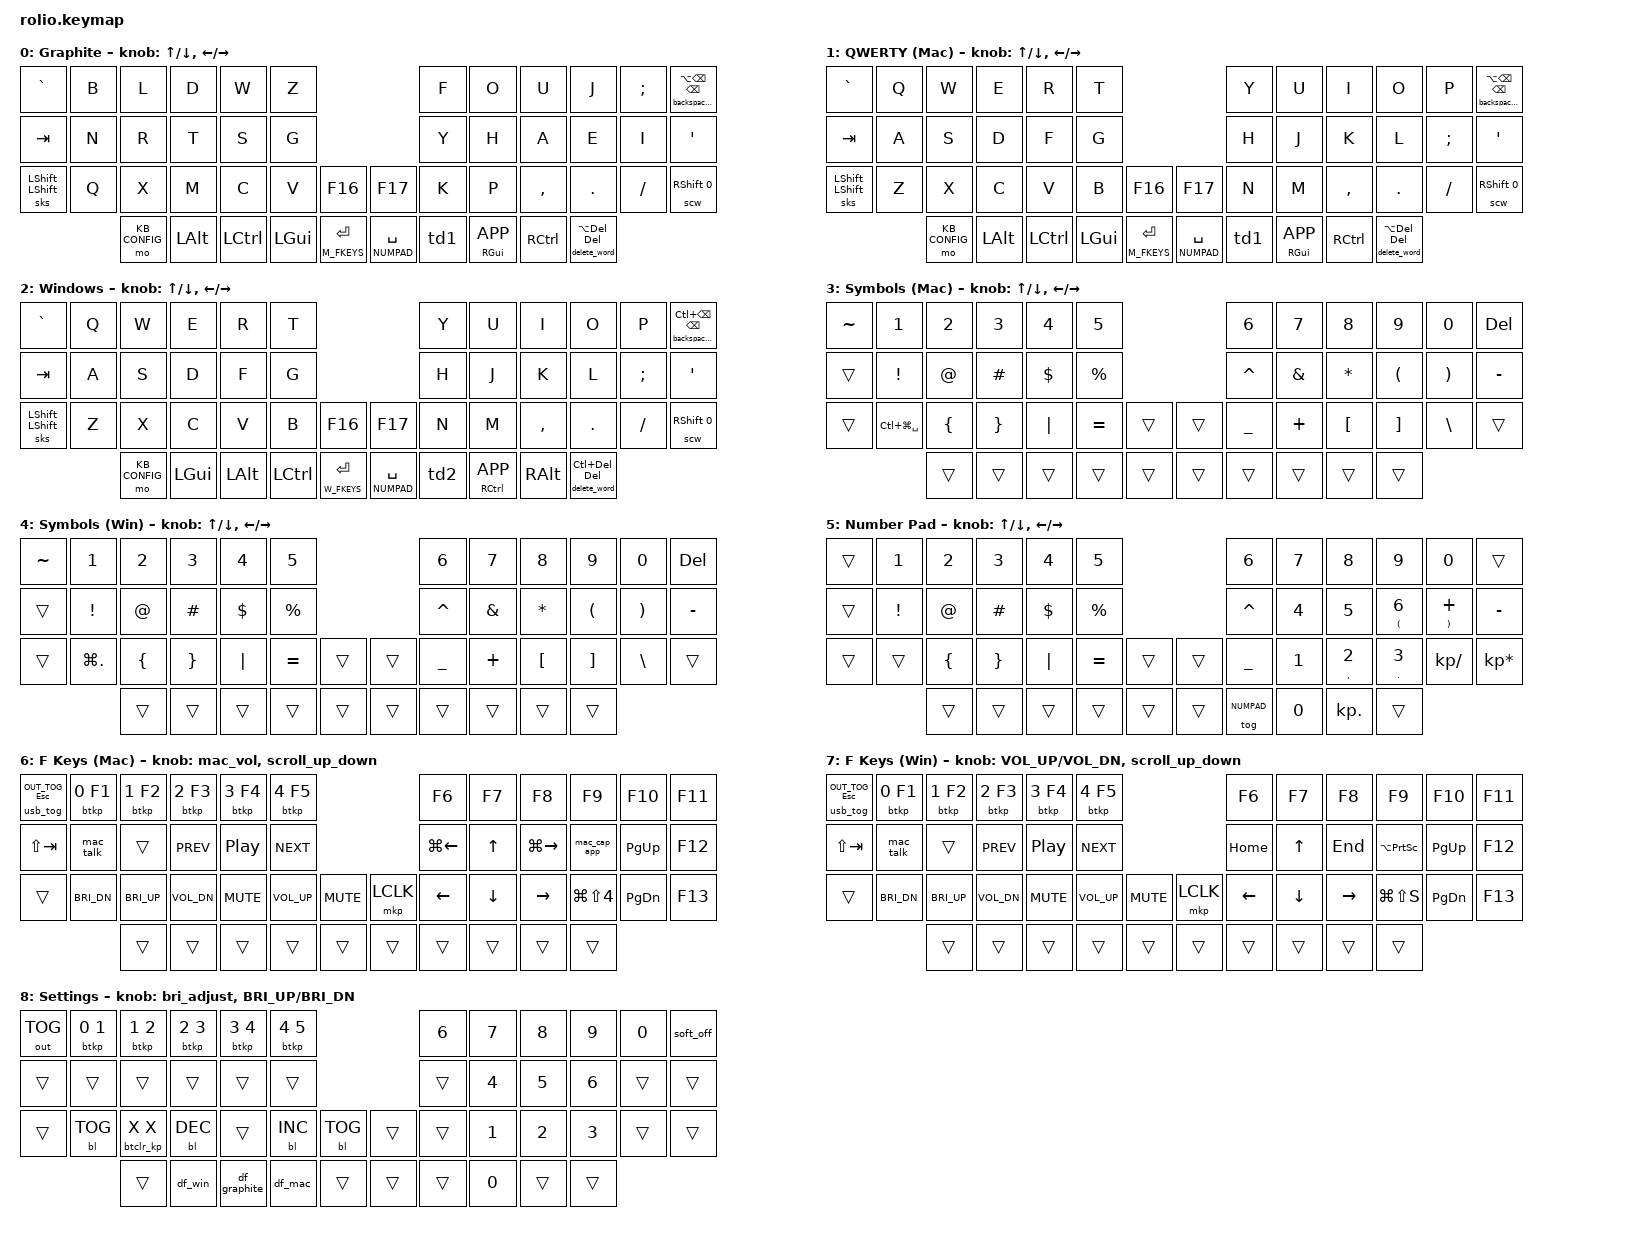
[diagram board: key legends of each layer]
/*
 * Copyright (c) 2023 The ZMK Contributors
 *
 * SPDX-License-Identifier: MIT
 */

#include <behaviors.dtsi>
#include <dt-bindings/zmk/keys.h>
#include <dt-bindings/zmk/bt.h>
#include <dt-bindings/zmk/outputs.h>
#include <dt-bindings/zmk/backlight.h>

#define ZMK_POINTING_DEFAULT_SCRL_VAL 100
#include <dt-bindings/zmk/pointing.h>

// Helpful macros borrowed from AndrewMSHowe
#define ___ &trans

// Layer numbers for use by the keymap & macros
#define GRAPHITE  0
#define MACOS     1
#define WINDOWS   2
#define M_SYMBOLS 3
#define W_SYMBOLS 4
#define NUMPAD    5
#define M_FKEYS   6
#define W_FKEYS   7
#define KB_CONFIG 8


#include "keymap_behaviors.dtsi"
#include "keymap_macros.dtsi"

/ {

    combos {
        compatible = "zmk,combos";
        // Bracket combos — adjacent home-row keys, mirrored across split
        // Pattern: outer pair = [], middle pair = (), inner pair = {}
        combo_lpar  { timeout-ms = <30>; key-positions = <14 15>; bindings = <&kp LPAR>; };   // R+T → (
        combo_rpar  { timeout-ms = <30>; key-positions = <21 20>; bindings = <&kp RPAR>; };   // E+A → )
        combo_lbrc  { timeout-ms = <30>; key-positions = <15 16>; bindings = <&kp LBRC>; };   // T+S → {
        combo_rbrc  { timeout-ms = <30>; key-positions = <20 19>; bindings = <&kp RBRC>; };   // A+H → }
        combo_lbkt  { timeout-ms = <30>; key-positions = <13 14>; bindings = <&kp LBKT>; };   // N+R → [
        combo_rbkt  { timeout-ms = <30>; key-positions = <22 21>; bindings = <&kp RBKT>; };   // I+E → ]
    };

    keymap {
        compatible = "zmk,keymap";

        default_layer {
            display-name = "Graphite";
            sensor-bindings = <&inc_dec_kp UP DOWN &inc_dec_kp LEFT RIGHT>;
            bindings = <
// ╭───────────────┬───────────────┬───────────────┬───────────────┬───────────────┬───────────────╮                                 ╭───────────────┬───────────────┬───────────────┬───────────────┬───────────────┬───────────────╮
       &kp GRAVE      &kp B            &kp L           &kp D           &kp W           &kp Z     /*|                                 |*/  &kp F          &kp O           &kp U           &kp J           &kp SEMI       &backspace_word LA(BSPC) BSPC
       &kp TAB        &kp N            &kp R           &kp T           &kp S           &kp G     /*├─────────────╮     ╭─────────────┤*/  &kp Y          &kp H           &kp A           &kp E           &kp I          &kp SQT
       &sks LSHIFT LSHIFT &kp Q            &kp X           &kp M           &kp C           &kp V           &kp F16             &kp F17        &kp K          &kp P           &kp COMMA       &kp DOT         &kp FSLH       &scw RSHIFT 0
/* ╰───────────────┴───────────────┤*/ &mo KB_CONFIG   &kp LALT        &kp LCTRL       &kp LGUI   &lt M_FKEYS ENTER   &lt NUMPAD SPACE    &td1           &mt RGUI K_APP  &kp RCTRL       &delete_word LA(DEL) DEL   //├───────────────┴───────────────╯
//                                 ╰───────────────┴───────────────┴───────────────┴───────────────┴─────────────╯     ╰─────────────┴───────────────┴───────────────┴───────────────┴───────────────╯
            >;
        };

        macos_layer {
            display-name = "QWERTY (Mac)";
            sensor-bindings = <&inc_dec_kp UP DOWN &inc_dec_kp LEFT RIGHT>;
            bindings = <
// ╭───────────────┬───────────────┬───────────────┬───────────────┬───────────────┬───────────────╮                                 ╭───────────────┬───────────────┬───────────────┬───────────────┬───────────────┬───────────────╮
       &kp GRAVE      &kp Q            &kp W           &kp E           &kp R           &kp T     /*|                                 |*/  &kp Y          &kp U           &kp I           &kp O           &kp P          &backspace_word LA(BSPC) BSPC
       &kp TAB        &kp A            &kp S           &kp D           &kp F           &kp G     /*├─────────────╮     ╭─────────────┤*/  &kp H          &kp J           &kp K           &kp L           &kp SEMI       &kp SQT
       &sks LSHIFT LSHIFT &kp Z            &kp X           &kp C           &kp V           &kp B           &kp F16             &kp F17        &kp N          &kp M           &kp COMMA       &kp DOT         &kp FSLH       &scw RSHIFT 0
/* ╰───────────────┴───────────────┤*/ &mo KB_CONFIG   &kp LALT        &kp LCTRL       &kp LGUI   &lt M_FKEYS ENTER   &lt NUMPAD SPACE    &td1           &mt RGUI K_APP  &kp RCTRL       &delete_word LA(DEL) DEL   //├───────────────┴───────────────╯
//                                 ╰───────────────┴───────────────┴───────────────┴───────────────┴─────────────╯     ╰─────────────┴───────────────┴───────────────┴───────────────┴───────────────╯
            >;
        };

        windows_default_layer {
            display-name = "Windows";
            sensor-bindings = <&inc_dec_kp UP DOWN &inc_dec_kp LEFT RIGHT>;
            bindings = <
// ╭───────────────┬───────────────┬───────────────┬───────────────┬───────────────┬───────────────╮                                 ╭───────────────┬───────────────┬───────────────┬───────────────┬───────────────┬───────────────╮
       &kp GRAVE      &kp Q            &kp W           &kp E           &kp R           &kp T     /*|                                 |*/  &kp Y          &kp U           &kp I           &kp O           &kp P          &backspace_word LC(BSPC) BSPC
       &kp TAB        &kp A            &kp S           &kp D           &kp F           &kp G     /*├─────────────╮     ╭─────────────┤*/  &kp H          &kp J           &kp K           &kp L           &kp SEMI       &kp SQT
       &sks LSHIFT LSHIFT &kp Z            &kp X           &kp C           &kp V           &kp B           &kp F16             &kp F17        &kp N          &kp M           &kp COMMA       &kp DOT         &kp FSLH       &scw RSHIFT 0
/* ╰───────────────┴───────────────┤*/ &mo KB_CONFIG   &kp LGUI        &kp LALT        &kp LCTRL   &lt W_FKEYS ENTER   &lt NUMPAD SPACE   &td2        &mt RCTRL K_APP    &kp RALT        &delete_word LC(DEL) DEL   //├───────────────┴───────────────╯
//                                 ╰───────────────┴───────────────┴───────────────┴───────────────┴─────────────╯     ╰─────────────┴───────────────┴───────────────┴───────────────┴───────────────╯
            >;
        };

        macos_symbols_layer {
            display-name = "Symbols (Mac)";
            sensor-bindings = <&inc_dec_kp UP DOWN &inc_dec_kp LEFT RIGHT>;
            bindings = <
// ╭───────────────┬───────────────┬───────────────┬───────────────┬───────────────┬───────────────╮                                 ╭───────────────┬───────────────┬───────────────┬───────────────┬───────────────┬───────────────╮
       &kp TILDE       &kp N1          &kp N2          &kp N3          &kp N4          &kp N5    /*|                                 |*/  &kp N6         &kp N7          &kp N8          &kp N9          &kp N0          &kp DEL
       ___             &kp EXCL        &kp AT          &kp HASH        &kp DLLR        &kp PRCNT /*├─────────────╮     ╭─────────────┤*/  &kp CARET      &kp AMPERSAND   &kp STAR        &kp LPAR        &kp RPAR        &kp MINUS
       ___         &kp LC(LG(SPACE))   &kp LEFT_BRACE  &kp RIGHT_BRACE &kp PIPE        &kp EQUAL       ___                 ___            &kp UNDER      &kp PLUS        &kp LBKT        &kp RBKT        &kp BACKSLASH   ___
/* ╰───────────────┴───────────────┤*/ ___             ___             ___             ___             ___                 ___            ___            ___             ___             ___       //├───────────────┴───────────────╯
//                                 ╰───────────────┴───────────────┴───────────────┴───────────────┴─────────────╯     ╰─────────────┴───────────────┴───────────────┴───────────────┴───────────────╯
            >;
        };

        windows_symbols_layer {
            display-name = "Symbols (Win)";
            sensor-bindings = <&inc_dec_kp UP DOWN &inc_dec_kp LEFT RIGHT>;
            bindings = <
// ╭───────────────┬───────────────┬───────────────┬───────────────┬───────────────┬───────────────╮                                 ╭───────────────┬───────────────┬───────────────┬───────────────┬───────────────┬───────────────╮
       &kp TILDE       &kp N1          &kp N2          &kp N3          &kp N4          &kp N5    /*|                                 |*/  &kp N6         &kp N7          &kp N8          &kp N9          &kp N0          &kp DEL
       ___             &kp EXCL        &kp AT          &kp HASH        &kp DLLR        &kp PRCNT /*├─────────────╮     ╭─────────────┤*/  &kp CARET      &kp AMPERSAND   &kp STAR        &kp LPAR        &kp RPAR        &kp MINUS
       ___             &kp LG(DOT)     &kp LEFT_BRACE  &kp RIGHT_BRACE &kp PIPE        &kp EQUAL       ___                 ___            &kp UNDER      &kp PLUS        &kp LBKT        &kp RBKT        &kp BACKSLASH   ___
/* ╰───────────────┴───────────────┤*/ ___             ___             ___             ___             ___                 ___            ___            ___             ___             ___       //├───────────────┴───────────────╯
//                                 ╰───────────────┴───────────────┴───────────────┴───────────────┴─────────────╯     ╰─────────────┴───────────────┴───────────────┴───────────────┴───────────────╯
            >;
        };

        numpad_layer {
            display-name = "Number Pad";
            sensor-bindings = <&inc_dec_kp UP DOWN &inc_dec_kp LEFT RIGHT>;
            bindings = <
// ╭───────────────┬───────────────┬───────────────┬───────────────┬───────────────┬───────────────╮                                 ╭───────────────┬───────────────┬───────────────┬───────────────┬───────────────┬───────────────╮
       ___             &kp N1          &kp N2          &kp N3          &kp N4          &kp N5    /*|                                 |*/    &kp N6         &kp N7          &kp N8          &kp N9          &kp N0          ___ 
       ___             &kp EXCL        &kp AT          &kp HASH        &kp DLLR        &kp PRCNT /*├─────────────╮     ╭─────────────┤*/  &kp CARET      &kp N4          &kp N5          &mt LPAR N6     &mt RPAR PLUS   &kp MINUS
       ___             ___             &kp LEFT_BRACE  &kp RIGHT_BRACE &kp PIPE        &kp EQUAL       ___                 ___            &kp UNDER      &kp N1          &mt COMMA N2    &mt DOT N3      &kp KP_DIVIDE   &kp KP_MULTIPLY
/* ╰───────────────┴───────────────┤*/ ___             ___             ___             ___             ___                 ___            &tog NUMPAD    &kp N0          &kp KP_DOT      ___       //├───────────────┴───────────────╯
//                                 ╰───────────────┴───────────────┴───────────────┴───────────────┴─────────────╯     ╰─────────────┴───────────────┴───────────────┴───────────────┴───────────────╯
            >;
      };


        macos_f_keys_layer {
            display-name = "F Keys (Mac)";
            sensor-bindings = <&mac_vol &scroll_up_down>;
            bindings = <
// ╭───────────────┬───────────────┬───────────────┬───────────────┬───────────────┬────────────────╮                                 ╭───────────────┬───────────────┬───────────────┬───────────────┬───────────────┬───────────────╮
  &usb_tog OUT_TOG ESCAPE &btkp 0 F1   &btkp 1 F2      &btkp 2 F3      &btkp 3 F4      &btkp 4 F5 /*|                                 |*/   &kp F6         &kp F7          &kp F8          &kp F9          &kp F10         &kp F11
      &kp LS(TAB)      &mac_talk       ___             &kp C_PREV      &kp C_PP        &kp C_NEXT /*├─────────────╮     ╭─────────────┤*/   &kp LG(LEFT)   &kp UP          &kp LG(RIGHT)   &mac_cap_app    &kp PG_UP       &kp F12
      ___              &kp C_BRI_DN    &kp C_BRI_UP    &kp C_VOL_DN    &kp C_MUTE      &kp C_VOL_UP     &kp C_MUTE         &mkp LCLK        &kp LEFT       &kp DOWN        &kp RIGHT       &kp LG(LS(N4))  &kp PG_DN       &kp F13
/* ╰───────────────┴───────────────┤*/ ___             ___             ___             ___              ___                ___              ___            ___             ___             ___      //├───────────────┴───────────────╯
//                                 ╰───────────────┴───────────────┴───────────────┴────────────────┴─────────────╯     ╰─────────────┴───────────────┴───────────────┴───────────────┴───────────────╯
            >;
        };

        windows_f_keys_layer {
            display-name = "F Keys (Win)";
            sensor-bindings = <&inc_dec_kp C_VOL_UP C_VOL_DN &scroll_up_down>;
            bindings = <
// ╭───────────────┬───────────────┬───────────────┬───────────────┬───────────────┬────────────────╮                                 ╭───────────────┬───────────────┬───────────────┬───────────────┬───────────────┬───────────────╮
  &usb_tog OUT_TOG ESCAPE &btkp 0 F1   &btkp 1 F2      &btkp 2 F3      &btkp 3 F4      &btkp 4 F5 /*|                                 |*/   &kp F6         &kp F7          &kp F8          &kp F9          &kp F10         &kp F11
      &kp LS(TAB)      &mac_talk       ___             &kp C_PREV      &kp C_PP        &kp C_NEXT /*├─────────────╮     ╭─────────────┤*/   &kp HOME       &kp UP          &kp END         &kp LA(PSCRN)   &kp PG_UP       &kp F12
      ___              &kp C_BRI_DN    &kp C_BRI_UP    &kp C_VOL_DN    &kp C_MUTE      &kp C_VOL_UP    &kp C_MUTE          &mkp LCLK        &kp LEFT       &kp DOWN        &kp RIGHT       &kp LG(LS(S))   &kp PG_DN       &kp F13
/* ╰───────────────┴───────────────┤*/ ___             ___             ___             ___             ___                 ___              ___            ___             ___             ___      //├───────────────┴───────────────╯
//                                 ╰───────────────┴───────────────┴───────────────┴────────────────┴─────────────╯     ╰─────────────┴───────────────┴───────────────┴───────────────┴───────────────╯
            >;

        };


      settings_layer {
            display-name = "Settings";
            sensor-bindings = <&bri_adjust &inc_dec_kp C_BRI_UP C_BRI_DN>;
            bindings = <
// ╭───────────────┬───────────────┬───────────────┬───────────────┬───────────────┬────────────────╮                                 ╭───────────────┬───────────────┬───────────────┬───────────────┬───────────────┬───────────────╮
      &out OUT_TOG     &btkp 0 N1      &btkp 1 N2      &btkp 2 N3      &btkp 3 N4      &btkp 4 N5 /*|                                 |*/   &kp N6         &kp N7          &kp N8          &kp N9          &kp N0          &soft_off
      ___              ___             ___             ___             ___             ___        /*├─────────────╮     ╭─────────────┤*/   ___            &kp N4          &kp N5          &kp N6          ___             ___
      ___              &bl BL_TOG      &btclr_kp X X   &bl BL_DEC      ___             &bl BL_INC      &bl BL_TOG           ___             ___            &kp N1          &kp N2          &kp N3          ___             ___
/* ╰───────────────┴───────────────┤*/ ___             &df_win         &df_graphite    &df_mac         ___                  ___             ___            &kp N0          ___             ___      //├───────────────┴───────────────╯
//                                 ╰───────────────┴───────────────┴───────────────┴────────────────┴─────────────╯     ╰─────────────┴───────────────┴───────────────┴───────────────┴───────────────╯   
            >;
        };

        // Extra layers for ZMK Studio
        extra1 {
            status = "reserved";
        };
        extra2 {
            status = "reserved";
        };
        extra3 {
            status = "reserved";
        };

    };

};
